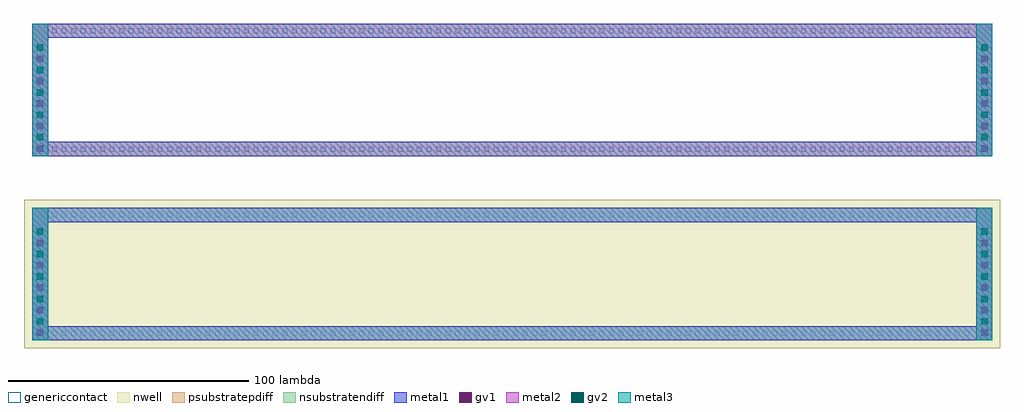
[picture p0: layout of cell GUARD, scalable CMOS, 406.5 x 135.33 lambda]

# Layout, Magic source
magic
tech scmos
magscale 1 6
<< nwell >>
rect -20 -20 2419 352
<< psubstratepdiff >>
rect 0 756 2400 792
rect 0 496 40 756
rect 2360 496 2400 756
rect 0 460 2400 496
<< nsubstratendiff >>
rect 0 296 2400 332
rect 0 36 40 296
rect 2360 36 2400 296
rect 0 0 2400 36
<< metal1 >>
rect 0 756 2400 792
rect 0 496 40 756
rect 2360 496 2400 756
rect 0 460 2400 496
rect 0 296 2400 332
rect 0 36 40 296
rect 2360 36 2400 296
rect 0 0 2400 36
<< metal2 >>
rect 0 460 40 792
rect 2360 460 2400 792
rect 0 0 40 332
rect 2360 0 2400 332
<< metal3 >>
rect 0 460 40 792
rect 2360 460 2400 792
rect 0 0 40 332
rect 2360 0 2400 332
use CONT  CONT_0
array 0 0 0 0 4 56
transform 1 0 2380 0 1 508
box -6 -6 6 6
use CONT  CONT_1
array 0 95 24 0 0 0
transform 1 0 56 0 1 314
box -6 -6 6 6
use CONT  CONT_2
array 0 0 0 0 4 56
transform 1 0 20 0 1 48
box -6 -6 6 6
use CONT  CONT_3
array 0 0 0 0 4 56
transform 1 0 2380 0 1 48
box -6 -6 6 6
use CONT  CONT_4
array 0 0 0 0 4 56
transform 1 0 20 0 1 508
box -6 -6 6 6
use CONT  CONT_5
array 0 95 24 0 0 0
transform 1 0 56 0 1 18
box -6 -6 6 6
use CONT  CONT_6
array 0 95 24 0 0 0
transform 1 0 56 0 1 478
box -6 -6 6 6
use CONT  CONT_7
array 0 95 24 0 0 0
transform 1 0 56 0 1 774
box -6 -6 6 6
use VIA1  VIA1_0
array 0 0 0 0 4 56
transform 1 0 20 0 1 20
box -8 -8 8 8
use VIA1  VIA1_1
array 0 0 0 0 4 56
transform 1 0 2380 0 1 20
box -8 -8 8 8
use VIA1  VIA1_2
array 0 0 0 0 4 56
transform 1 0 20 0 1 480
box -8 -8 8 8
use VIA1  VIA1_3
array 0 0 0 0 4 56
transform 1 0 2380 0 1 480
box -8 -8 8 8
use VIA2  VIA2_0
array 0 0 0 0 4 56
transform 1 0 2380 0 1 48
box -8 -8 8 8
use VIA2  VIA2_1
array 0 0 0 0 4 56
transform 1 0 20 0 1 48
box -8 -8 8 8
use VIA2  VIA2_2
array 0 0 0 0 4 56
transform 1 0 2380 0 1 508
box -8 -8 8 8
use VIA2  VIA2_3
array 0 0 0 0 4 56
transform 1 0 20 0 1 508
box -8 -8 8 8
<< end >>

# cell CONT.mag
magic
tech scmos
<< genericcontact >>
rect -1 -1 1 1
<< end >>

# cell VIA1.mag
magic
tech scmos
magscale 1 3
<< gv1 >>
rect -4 -4 4 4
<< end >>

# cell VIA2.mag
magic
tech scmos
magscale 1 3
<< gv2 >>
rect -4 -4 4 4
<< end >>
